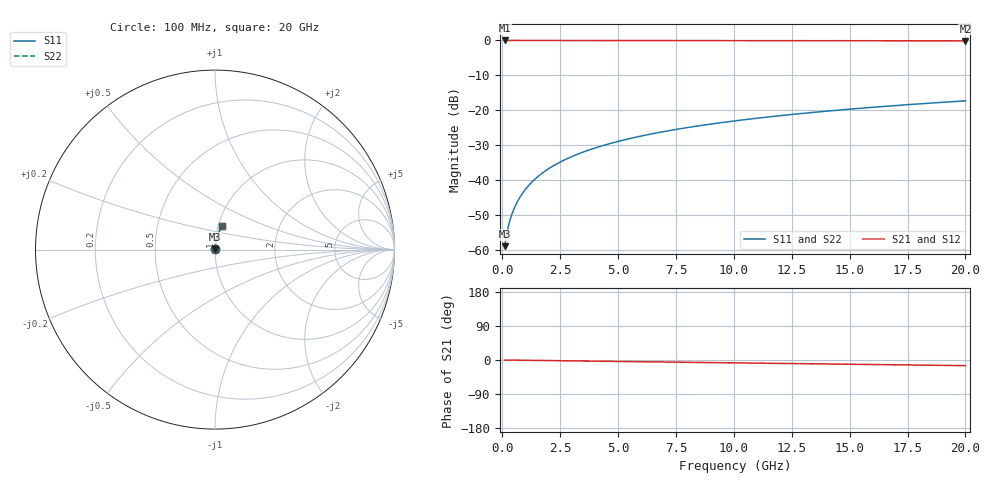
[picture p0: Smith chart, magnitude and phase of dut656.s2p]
! Touchstone file exported from HFSS 2026.1.0
!  File:  C:/ffzhzh/LocalFiles/Ansys_Project_Files/temp_train_TMRDL_656_1783009641_46388.aedt
!  Generated:  12:29:00 AM Jul  3, 2026
!  Design:  TMRDL
!  Project:  temp_train_TMRDL_656_1783009641_46388
! Variables:
!  h_bsmrdl = 2um
!  h_ox = 20um
!  h_rdl = 5um
!  h_sub = 80um
!  h_tmrdl = 4.1um
!  h_tsv = 80um
!  h_via = 3um
!  l_bsmrdl = 300um
!  l_sub = 586.85um
!  l_tmrdl = 186.85um
!  m_sub = 200um
!  pitch = 51.82um
!  r_tsv = 6um
!  s_tmrdl = 10um
!  w_bsmrdl = 18um
!  w_sub = 500um
!  w_tmrdl = 27.61um
!  x_tsv_center1 = 200.655um
!  x_tsv_center2 = 518.655um
!  x_tsv_center3 = 733.115um
!  x_tsv_center4 = 1051.115um
!  x_tsv_center5 = 1265.575um
!  x_tsv_center6 = 1583.575um
# GHz S MA R 50.000000
! Terminal data exported
! Port[1] = TM_RDL1_1_T1
! Port[2] = TM_RDL1_1_T2
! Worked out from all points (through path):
!   200 points, 100 MHz to 20 GHz, reference 50 ohm
!   highest |S21| = -0.01 dB at 100 MHz (marker M1); lowest = -0.1 dB at 20 GHz (marker M2)
!   group delay of S21, straight-line fit = 2.07 ps
!   lowest |S11| = -58.9 dB at 100 MHz (marker M3), VSWR 1.00, Z = 50.1 + j0.0808 ohm
!   |S11| at or under -10 dB: start of sweep to end of sweep
!   |S22| runs from -58.9 to -17.3 dB; largest |S21 - S12| = 4.8e-15
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0.1  0.001138 45.2  0.9992 -0.1  0.9992 -0.1  0.001138 45.2
! Gamma 0 0 0 0
! Port Impedance 50 0 50 0
0.2  0.001792 61.2  0.9991 -0.2  0.9991 -0.2  0.001792 61.2
0.3  0.002476 68.2  0.9991 -0.2  0.9991 -0.2  0.002476 68.2
0.4  0.003167 72.4  0.999 -0.3  0.999 -0.3  0.003167 72.4
0.5  0.003864 75.1  0.999 -0.4  0.999 -0.4  0.003864 75.1
0.6  0.004567 77.1  0.999 -0.5  0.999 -0.5  0.004567 77.1
0.8  0.005985 79.6  0.999 -0.6  0.999 -0.6  0.005985 79.6
1.1  0.008132 81.7  0.9989 -0.8  0.9989 -0.8  0.008132 81.7
1.5  0.01101 83.1  0.9988 -1.2  0.9988 -1.2  0.01101 83.1
1.8  0.01317 83.6  0.9988 -1.4  0.9988 -1.4  0.01317 83.6
2.1  0.01533 83.9  0.9987 -1.6  0.9987 -1.6  0.01533 83.9
2.7  0.01963 84.1  0.9985 -2.1  0.9985 -2.1  0.01963 84.1
3.5  0.02533 84.0  0.9982 -2.7  0.9982 -2.7  0.02533 84.0
4.2  0.03028 83.7  0.9979 -3.2  0.9979 -3.2  0.03028 83.7
5  0.03591 83.3  0.9975 -3.8  0.9975 -3.8  0.03591 83.3
5.9  0.04218 82.8  0.9971 -4.5  0.9971 -4.5  0.04218 82.8
6.8  0.04842 82.2  0.9966 -5.2  0.9966 -5.2  0.04842 82.2
8.3  0.05874 81.3  0.9958 -6.3  0.9958 -6.3  0.05873 81.3
10.1  0.07101 80.1  0.9946 -7.6  0.9946 -7.6  0.071 80.1
13.4  0.09323 77.9  0.9923 -10.1  0.9923 -10.1  0.09323 77.9
16.7  0.1151 75.7  0.9897 -12.5  0.9897 -12.5  0.1151 75.7
20  0.1366 73.4  0.9866 -14.9  0.9866 -14.9  0.1366 73.4
